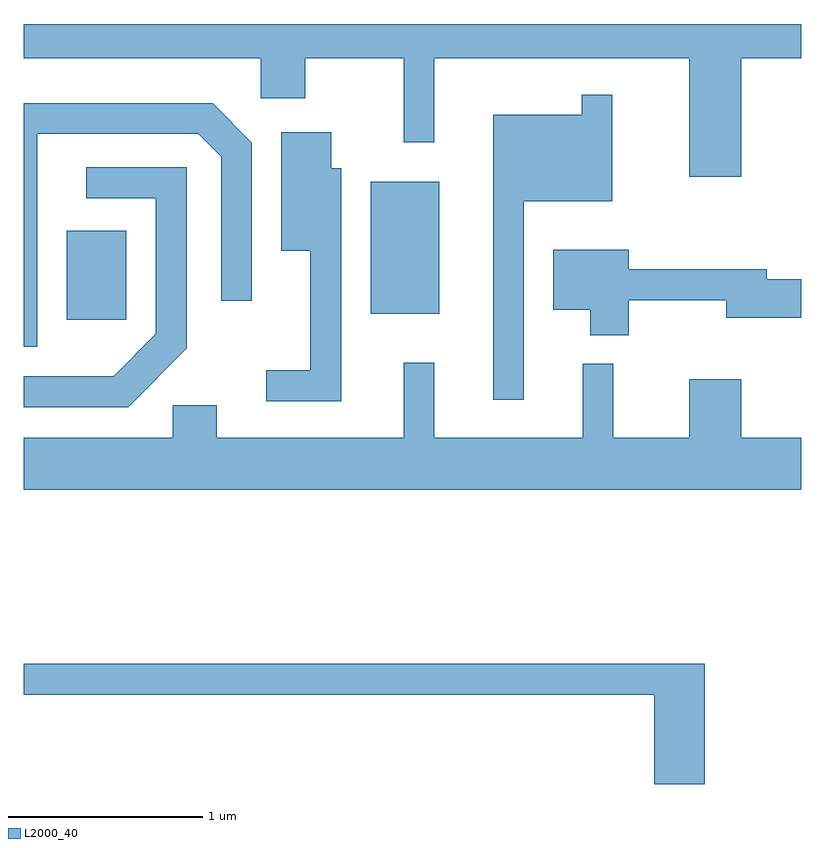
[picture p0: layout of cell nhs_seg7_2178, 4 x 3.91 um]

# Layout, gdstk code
import gdstk
lib = gdstk.Library(unit=1e-6, precision=1e-09)
def R(c, l, rs):  # rectangles x0, y0, x1, y1
    for r in rs: c.add(gdstk.rectangle(r[:2], r[2:], *l))
def P(c, l, *ps):  # polygons
    for p in ps: c.add(gdstk.Polygon(p, *l))
L2000_40 = (2000, 40)

nhs_seg7_2178 = lib.new_cell('nhs_seg7_2178')
R(nhs_seg7_2178, L2000_40, [(251.831,1730.731,252.139,1731.189), (253.396,1730.761,253.749,1731.439)])
P(nhs_seg7_2178, L2000_40, [(255.304,1732.076),(255.611,1732.076),(255.611,1732.252),(251.611,1732.252),(251.611,1732.076),(252.831,1732.076),(252.831,1731.871),(253.059,1731.871),(253.059,1732.076),(253.566,1732.076),(253.566,1731.643),(253.724,1731.643),(253.724,1732.076),(255.036,1732.076),(255.036,1731.466),(255.304,1731.466)],
  [(254.184,1731.341),(254.639,1731.341),(254.639,1731.888),(254.481,1731.888),(254.481,1731.784),(254.026,1731.784),(254.026,1730.318),(254.184,1730.318)],
  [(251.679,1731.686),(252.509,1731.686),(252.626,1731.569),(252.626,1730.828),(252.784,1730.828),(252.784,1731.642),(252.582,1731.844),(251.611,1731.844),(251.611,1730.591),(251.679,1730.591)],
  [(253.244,1731.509),(253.194,1731.509),(253.194,1731.694),(252.936,1731.694),(252.936,1731.086),(253.086,1731.086),(253.086,1730.469),(252.858,1730.469),(252.858,1730.311),(253.244,1730.311)],
  [(252.449,1730.584),(252.449,1731.514),(251.933,1731.514),(251.933,1731.356),(252.291,1731.356),(252.291,1730.657),(252.074,1730.439),(251.611,1730.439),(251.611,1730.281),(252.147,1730.281)],
  [(254.724,1730.831),(255.226,1730.831),(255.226,1730.741),(255.611,1730.741),(255.611,1730.939),(255.434,1730.939),(255.434,1730.989),(254.724,1730.989),(254.724,1731.089),(254.336,1731.089),(254.336,1730.781),(254.526,1730.781),(254.526,1730.651),(254.724,1730.651)],
  [(255.611,1730.124),(255.304,1730.124),(255.304,1730.424),(255.036,1730.424),(255.036,1730.124),(254.644,1730.124),(254.644,1730.503),(254.486,1730.503),(254.486,1730.124),(253.724,1730.124),(253.724,1730.508),(253.566,1730.508),(253.566,1730.124),(252.604,1730.124),(252.604,1730.289),(252.376,1730.289),(252.376,1730.124),(251.611,1730.124),(251.611,1729.856),(255.611,1729.856)],
  [(255.114,1728.959),(251.611,1728.959),(251.611,1728.801),(254.856,1728.801),(254.856,1728.341),(255.114,1728.341)])

lib.write_gds('nhs_seg7_2178.gds')
